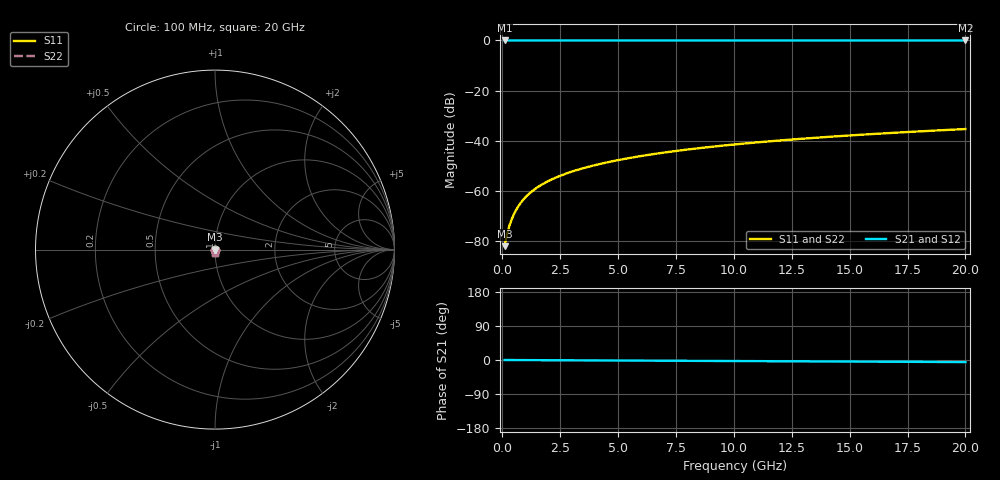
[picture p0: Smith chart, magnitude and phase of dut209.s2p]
! Touchstone file exported from HFSS 2026.1.0
!  File:  C:/ffzhzh/LocalFiles/Ansys_Project_Files/temp_train_TSV_209_1782991893_45328.aedt
!  Generated:  07:33:01 PM Jul  2, 2026
!  Design:  TSV
!  Project:  temp_train_TSV_209_1782991893_45328
! Variables:
!  h_bsmrdl = 2um
!  h_ox = 20um
!  h_rdl = 5um
!  h_sub = 50.18um
!  h_tmrdl = 5um
!  h_tsv = 50.18um
!  h_via = 3um
!  l_bsmrdl = 300um
!  l_sub = 429.92um
!  l_tmrdl = 200um
!  m_sub = 200um
!  pitch = 50um
!  r_tsv = 14.96um
!  s_tmrdl = 10um
!  w_bsmrdl = 18um
!  w_sub = 500um
!  w_tmrdl = 12um
!  x_tsv_center1 = 206um
!  x_tsv_center2 = 524um
!  x_tsv_center3 = 736um
!  x_tsv_center4 = 1054um
!  x_tsv_center5 = 1266um
!  x_tsv_center6 = 1584um
# GHz S MA R 50.000000
! Terminal data exported
! Port[1] = TSV1_1_T1
! Port[2] = TSV1_1_T2
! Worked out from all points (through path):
!   200 points, 100 MHz to 20 GHz, reference 50 ohm
!   highest |S21| = 0.00 dB at 100 MHz (marker M1); lowest = 0.0 dB at 20 GHz (marker M2)
!   lowest |S11| = -82.0 dB at 100 MHz (marker M3), VSWR 1.00, Z = 50 - j0.0058 ohm
!   |S11| at or under -10 dB: start of sweep to end of sweep
!   |S22| runs from -82.0 to -35.3 dB; largest |S21 - S12| = 1.1e-15
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0.1  7.923e-05 -47.0  0.9999 -0.0  0.9999 -0.0  7.923e-05 -47.0
! Gamma 0 0 0 0
! Port Impedance 50 0 50 0
0.2  0.0001341 -62.0  0.9999 -0.1  0.9999 -0.1  0.0001341 -62.0
0.3  0.000198 -67.5  0.9999 -0.1  0.9999 -0.1  0.000198 -67.5
0.4  0.000268 -70.2  0.9999 -0.1  0.9999 -0.1  0.000268 -70.2
0.5  0.0003425 -71.9  0.9999 -0.1  0.9999 -0.1  0.0003425 -71.9
0.6  0.0004203 -73.3  0.9999 -0.2  0.9999 -0.2  0.0004203 -73.3
0.8  0.0005821 -75.5  0.9999 -0.2  0.9999 -0.2  0.0005821 -75.5
1.1  0.0008315 -78.0  0.9998 -0.3  0.9998 -0.3  0.0008315 -78.0
1.3  0.0009991 -79.3  0.9998 -0.4  0.9998 -0.4  0.0009991 -79.3
1.5  0.001167 -80.4  0.9998 -0.4  0.9998 -0.4  0.001167 -80.4
1.8  0.001418 -81.6  0.9998 -0.5  0.9998 -0.5  0.001418 -81.6
2.1  0.001669 -82.6  0.9998 -0.6  0.9998 -0.6  0.001669 -82.6
2.7  0.002172 -84.0  0.9997 -0.7  0.9997 -0.7  0.002172 -84.0
3.5  0.002844 -85.1  0.9997 -1.0  0.9997 -1.0  0.002844 -85.1
4.2  0.003436 -85.9  0.9997 -1.2  0.9997 -1.2  0.003436 -85.9
5  0.004117 -86.6  0.9996 -1.4  0.9996 -1.4  0.004117 -86.6
6.8  0.00566 -87.8  0.9996 -1.9  0.9996 -1.9  0.00566 -87.8
8.3  0.006954 -88.6  0.9995 -2.3  0.9995 -2.3  0.006954 -88.6
10.1  0.008513 -89.4  0.9995 -2.8  0.9995 -2.8  0.008513 -89.4
13.4  0.01138 -90.8  0.9994 -3.7  0.9994 -3.7  0.01138 -90.8
16.7  0.01425 -92.0  0.9993 -4.6  0.9993 -4.6  0.01425 -92.0
20  0.01714 -93.1  0.9992 -5.5  0.9992 -5.5  0.01714 -93.1
